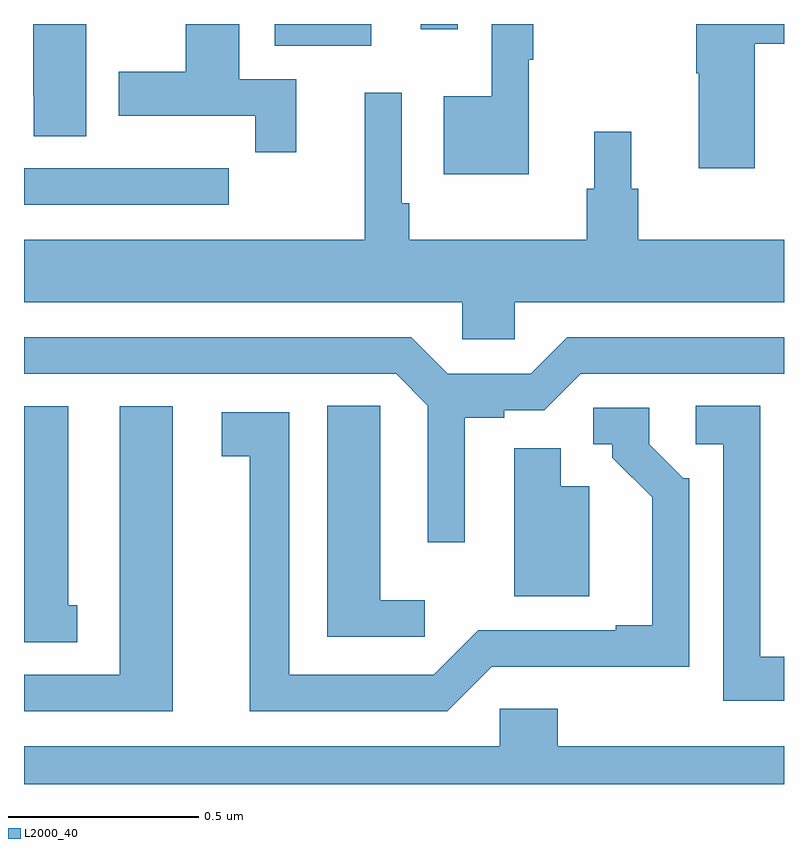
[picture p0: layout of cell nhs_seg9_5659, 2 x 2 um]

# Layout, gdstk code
import gdstk
lib = gdstk.Library(unit=1e-6, precision=1e-09)
def R(c, l, rs):  # rectangles x0, y0, x1, y1
    for r in rs: c.add(gdstk.rectangle(r[:2], r[2:], *l))
def P(c, l, *ps):  # polygons
    for p in ps: c.add(gdstk.Polygon(p, *l))
L2000_40 = (2000, 40)

nhs_seg9_5659 = lib.new_cell('nhs_seg9_5659')
R(nhs_seg9_5659, L2000_40, [(182.66,1182.443,182.914,1182.5), (183.044,1182.486,183.141,1182.5)])
P(nhs_seg9_5659, L2000_40, [(182.164,1182.5),(182.024,1182.5),(182.024,1182.313),(182.025,1182.313),(182.025,1182.205),(182.164,1182.205)],
  [(183.923,1182.448),(184,1182.448),(184,1182.5),(183.769,1182.5),(183.769,1182.371),(183.776,1182.371),(183.776,1182.12),(183.923,1182.12)],
  [(183.328,1182.406),(183.34,1182.406),(183.34,1182.5),(183.231,1182.5),(183.231,1182.31),(183.104,1182.31),(183.104,1182.104),(183.328,1182.104)],
  [(182.717,1182.354),(182.566,1182.354),(182.566,1182.5),(182.426,1182.5),(182.426,1182.375),(182.249,1182.375),(182.249,1182.258),(182.608,1182.258),(182.608,1182.162),(182.717,1182.162)],
  [(183.291,1181.768),(184,1181.768),(184,1181.932),(183.617,1181.932),(183.617,1182.066),(183.598,1182.066),(183.598,1182.217),(183.5,1182.217),(183.5,1182.066),(183.481,1182.066),(183.481,1181.932),(183.014,1181.932),(183.014,1182.028),(182.994,1182.028),(182.994,1182.319),(182.897,1182.319),(182.897,1181.932),(182,1181.932),(182,1181.768),(183.153,1181.768),(183.153,1181.67),(183.291,1181.67)],
  [(182.539,1182.12),(182.426,1182.12),(182.426,1182.121),(182.26,1182.121),(182.26,1182.12),(182,1182.12),(182,1182.024),(182.539,1182.024)],
  [(183.16,1181.464),(183.264,1181.464),(183.264,1181.484),(183.369,1181.484),(183.465,1181.58),(184,1181.58),(184,1181.676),(183.429,1181.676),(183.333,1181.58),(183.115,1181.58),(183.019,1181.676),(182,1181.676),(182,1181.58),(182.979,1181.58),(183.063,1181.496),(183.063,1181.136),(183.16,1181.136)],
  [(183.055,1180.984),(182.938,1180.984),(182.938,1181.387),(182.937,1181.387),(182.937,1181.495),(182.798,1181.495),(182.798,1180.887),(183.055,1180.887)],
  [(184,1180.835),(183.937,1180.835),(183.937,1181.495),(183.768,1181.495),(183.768,1181.394),(183.84,1181.394),(183.84,1180.719),(184,1180.719)],
  [(182.392,1181.494),(182.252,1181.494),(182.252,1180.788),(182,1180.788),(182,1180.692),(182.392,1180.692)],
  [(182.14,1180.971),(182.116,1180.971),(182.116,1181.494),(182,1181.494),(182,1180.873),(182.14,1180.873)],
  [(183.231,1180.809),(183.487,1180.809),(183.487,1180.808),(183.75,1180.808),(183.75,1181.304),(183.735,1181.304),(183.645,1181.394),(183.645,1181.49),(183.498,1181.49),(183.498,1181.394),(183.548,1181.394),(183.548,1181.359),(183.653,1181.254),(183.653,1180.918),(183.557,1180.918),(183.557,1180.905),(183.195,1180.905),(183.078,1180.788),(182.698,1180.788),(182.698,1181.478),(182.52,1181.478),(182.52,1181.362),(182.594,1181.362),(182.594,1180.692),(183.114,1180.692)],
  [(183.487,1181.284),(183.412,1181.284),(183.412,1181.383),(183.29,1181.383),(183.29,1180.994),(183.487,1180.994)],
  [(184,1180.6),(183.404,1180.6),(183.404,1180.698),(183.252,1180.698),(183.252,1180.6),(182,1180.6),(182,1180.5),(184,1180.5)])

lib.write_gds('nhs_seg9_5659.gds')
